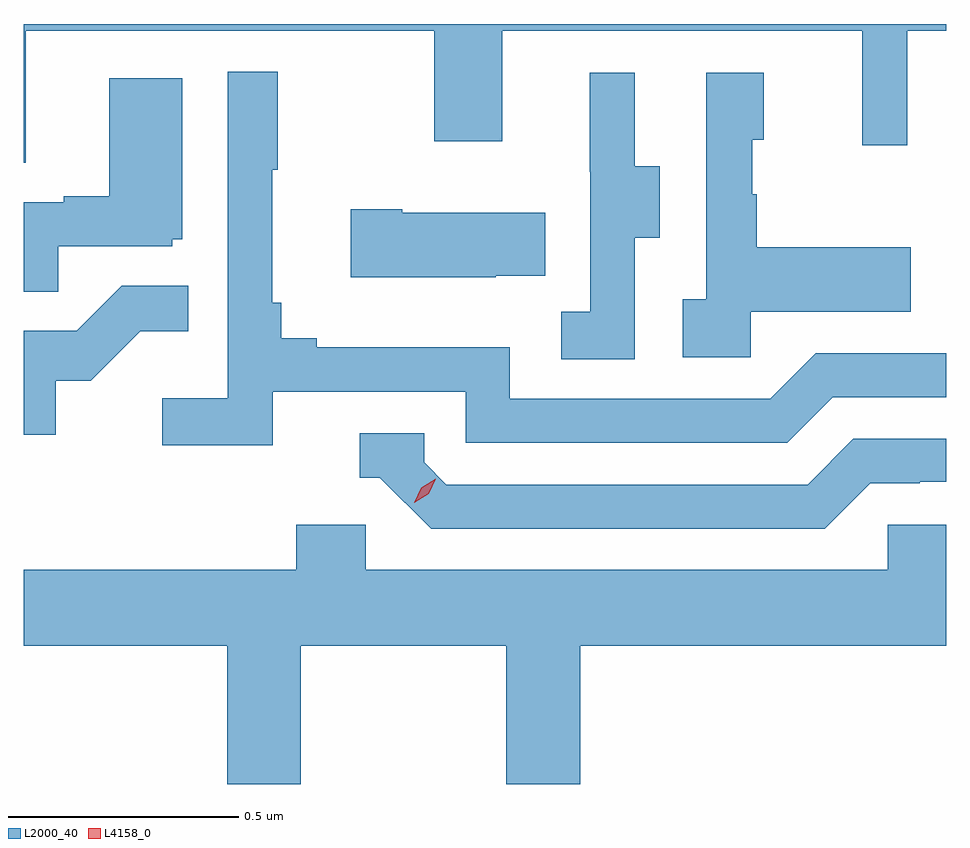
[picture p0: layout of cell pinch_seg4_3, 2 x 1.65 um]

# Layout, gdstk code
import gdstk
lib = gdstk.Library(unit=1e-6, precision=1e-09)
def P(c, l, *ps):  # polygons
    for p in ps: c.add(gdstk.Polygon(p, *l))
L2000_40 = (2000, 40)
L4158_0 = (4158, 0)

pinch_seg4_3 = lib.new_cell('pinch_seg4_3')
P(pinch_seg4_3, L2000_40, [(1084.909,832.784),(1085.794,832.784),(1085.794,832.545),(1085.941,832.545),(1085.941,832.784),(1086.722,832.784),(1086.722,832.536),(1086.819,832.536),(1086.819,832.784),(1086.904,832.784),(1086.904,832.799),(1084.904,832.799),(1084.904,832.498),(1084.909,832.498)],
  [(1085.444,832.002),(1085.862,832.002),(1085.862,831.891),(1086.559,831.891),(1086.658,831.99),(1086.904,831.99),(1086.904,832.086),(1086.621,832.086),(1086.522,831.987),(1085.958,831.987),(1085.958,832.099),(1085.539,832.099),(1085.539,832.118),(1085.462,832.118),(1085.462,832.195),(1085.443,832.195),(1085.443,832.483),(1085.455,832.483),(1085.455,832.696),(1085.346,832.696),(1085.346,831.988),(1085.205,831.988),(1085.205,831.886),(1085.444,831.886)],
  [(1086.228,832.336),(1086.283,832.336),(1086.283,832.491),(1086.229,832.491),(1086.229,832.693),(1086.131,832.693),(1086.131,832.479),(1086.132,832.479),(1086.132,832.175),(1086.069,832.175),(1086.069,832.072),(1086.228,832.072)],
  [(1086.48,832.175),(1086.827,832.175),(1086.827,832.315),(1086.493,832.315),(1086.493,832.43),(1086.483,832.43),(1086.483,832.548),(1086.508,832.548),(1086.508,832.693),(1086.384,832.693),(1086.384,832.202),(1086.333,832.202),(1086.333,832.077),(1086.48,832.077)],
  [(1084.979,832.317),(1085.226,832.317),(1085.226,832.332),(1085.248,832.332),(1085.248,832.681),(1085.09,832.681),(1085.09,832.426),(1084.991,832.426),(1084.991,832.413),(1084.904,832.413),(1084.904,832.219),(1084.979,832.219)],
  [(1085.927,832.253),(1086.035,832.253),(1086.035,832.39),(1085.725,832.39),(1085.725,832.398),(1085.613,832.398),(1085.613,832.25),(1085.927,832.25)],
  [(1084.974,832.026),(1085.05,832.026),(1085.157,832.133),(1085.261,832.133),(1085.261,832.232),(1085.117,832.232),(1085.019,832.134),(1084.904,832.134),(1084.904,831.909),(1084.974,831.909)],
  [(1086.739,831.804),(1086.846,831.804),(1086.846,831.807),(1086.904,831.807),(1086.904,831.9),(1086.702,831.9),(1086.603,831.801),(1085.82,831.801),(1085.772,831.849),(1085.772,831.912),(1085.633,831.912),(1085.633,831.816),(1085.676,831.816),(1085.787,831.705),(1086.64,831.705)],
  [(1085.505,831.452),(1085.95,831.452),(1085.95,831.152),(1086.11,831.152),(1086.11,831.452),(1086.904,831.452),(1086.904,831.714),(1086.777,831.714),(1086.777,831.616),(1085.646,831.616),(1085.646,831.714),(1085.495,831.714),(1085.495,831.616),(1084.904,831.616),(1084.904,831.452),(1085.345,831.452),(1085.345,831.152),(1085.505,831.152)])
P(pinch_seg4_3, L4158_0, [(1085.751,831.761),(1085.751,831.761),(1085.766,831.794),(1085.797,831.814),(1085.797,831.814),(1085.797,831.814),(1085.782,831.781),(1085.751,831.761)])

lib.write_gds('pinch_seg4_3.gds')
